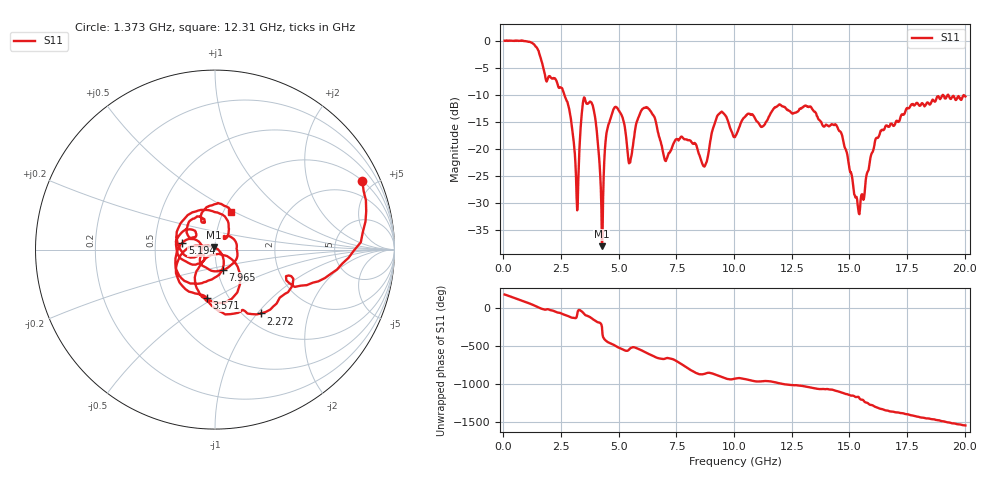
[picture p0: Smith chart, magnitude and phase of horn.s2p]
# GHz S MA R 50
! EEsoF format of Network Analyzer Results
!freq	S11Mag	S11Phase	S21Mag	S21Phase	S12Mag	S12Phase	S22Mag	S22Phase
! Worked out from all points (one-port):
!   801 points, 50 MHz to 20.03 GHz, reference 50 ohm
!   lowest |S11| = -38.0 dB at 4.27 GHz (marker M1), VSWR 1.03, Z = 49.6 + j1.19 ohm
!   |S11| at or under -10 dB: 2.647 GHz to 19.04 GHz (16.39 GHz wide, 151 % of centre); 19.06 GHz to 19.25 GHz (183.9 MHz wide, 0.96 % of centre); 19.29 GHz to 19.95 GHz (658.8 MHz wide, 3.36 % of centre)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
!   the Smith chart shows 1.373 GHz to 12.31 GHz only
!   S11 on the Smith chart (normalised r, x): 1.373 GHz: 1.02, +4.31; 2.272 GHz: 1.19, -1.05; 3.571 GHz: 0.80, -0.46; 5.194 GHz: 0.69, +0.05; 7.965 GHz: 1.06, -0.24; 12.31 GHz: 1.09, +0.49
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0.05  1.011 174.1  0 0.0  0 0.0  0 0.0
0.7990637  1.016 94.9  0 0.0  0 0.0  0 0.0
1.373346  0.9052 24.8  0 0.0  0 0.0  0 0.0
2.272222  0.4381 -54.3  0 0.0  0 0.0  0 0.0
3.171099  0.0359 -123.7  0 0.0  0 0.0  0 0.0
3.395818  0.2147 -48.5  0 0.0  0 0.0  0 0.0
3.570599  0.2725 -99.5  0 0.0  0 0.0  0 0.0
3.945131  0.2129 -164.1  0 0.0  0 0.0  0 0.0
4.269725  0.01259 108.4  0 0.0  0 0.0  0 0.0
4.59432  0.1769 -102.4  0 0.0  0 0.0  0 0.0
5.193571  0.1859 168.5  0 0.0  0 0.0  0 0.0
5.468227  0.0747 177.6  0 0.0  0 0.0  0 0.0
6.067478  0.2382 146.6  0 0.0  0 0.0  0 0.0
6.716667  0.139 56.0  0 0.0  0 0.0  0 0.0
7.965106  0.1214 -69.8  0 0.0  0 0.0  0 0.0
10.03752  0.1292 147.3  0 0.0  0 0.0  0 0.0
12.30968  0.23 66.5  0 0.0  0 0.0  0 0.0
13.38333  0.2352 24.7  0 0.0  0 0.0  0 0.0
14.58184  0.1464 -28.3  0 0.0  0 0.0  0 0.0
15.38084  0.02782 -92.3  0 0.0  0 0.0  0 0.0
16.70418  0.161 80.7  0 0.0  0 0.0  0 0.0
20.02503  0.3074 -109.5  0 0.0  0 0.0  0 0.0
